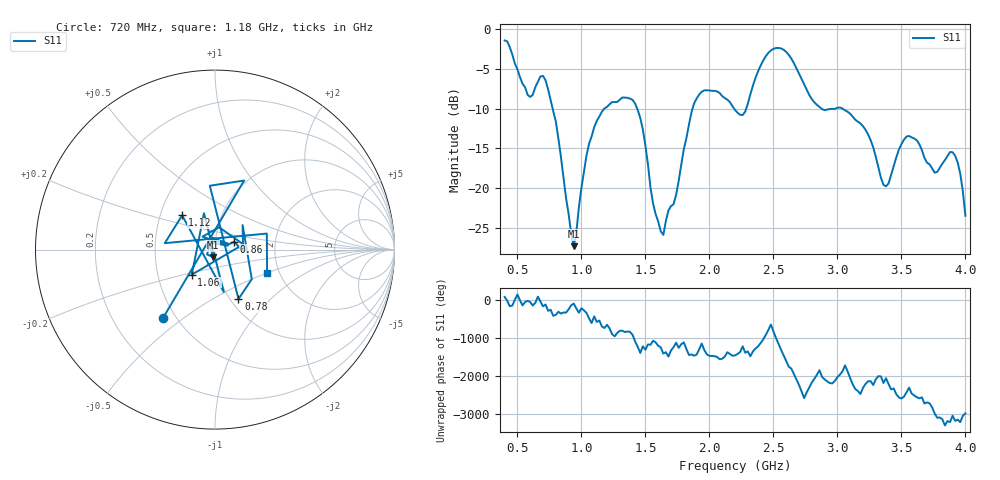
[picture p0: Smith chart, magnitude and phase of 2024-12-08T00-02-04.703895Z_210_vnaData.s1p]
!Created with skrf (http://scikit-rf.org).
# Hz S RI R 50.0
!freq ReS11 ImS11
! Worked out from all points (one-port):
!   181 points, 400 MHz to 4 GHz, reference 50 ohm
!   lowest |S11| = -27.3 dB at 940 MHz (marker M1), VSWR 1.09, Z = 48.9 - j4.12 ohm
!   |S11| at or under -10 dB: 775.4 MHz to 1.179 GHz (403.2 MHz wide, 41.3 % of centre); 1.436 GHz to 1.868 GHz (432.5 MHz wide, 26.2 % of centre); 3.041 GHz to end of sweep (the widest 3 of 5)
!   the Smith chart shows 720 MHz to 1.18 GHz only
!   S11 on the Smith chart (normalised r, x): 720 MHz: 0.43, -0.42; 780 MHz: 1.09, -0.66; 860 MHz: 1.23, +0.11; 1.06 GHz: 0.74, -0.22; 1.12 GHz: 0.65, +0.27; 1.18 GHz: 1.73, -0.49
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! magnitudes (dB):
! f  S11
! 400 MHz  -1.4
! 580 MHz  -8.3
! 720 MHz  -6.4
! 780 MHz  -10.3
! 860 MHz  -18.7
! 940 MHz  -27.3
! 1.06 GHz  -14.4
! 1.12 GHz  -11.6
! 1.18 GHz  -10.0
! 1.3 GHz  -8.9
! 1.44 GHz  -10.2
! 1.56 GHz  -21.9
! 1.64 GHz  -25.9
! 1.76 GHz  -19.1
! 1.86 GHz  -10.5
! 1.92 GHz  -8.2
! 2.2 GHz  -10.2
! 2.28 GHz  -10.4
! 2.48 GHz  -2.7
! 2.66 GHz  -4.3
! 2.84 GHz  -9.5
! 3.1 GHz  -10.6
! 3.24 GHz  -13.2
! 3.38 GHz  -19.8
! 3.56 GHz  -13.4
! 3.76 GHz  -18.1
! 3.92 GHz  -15.9
! 4 GHz  -23.5
